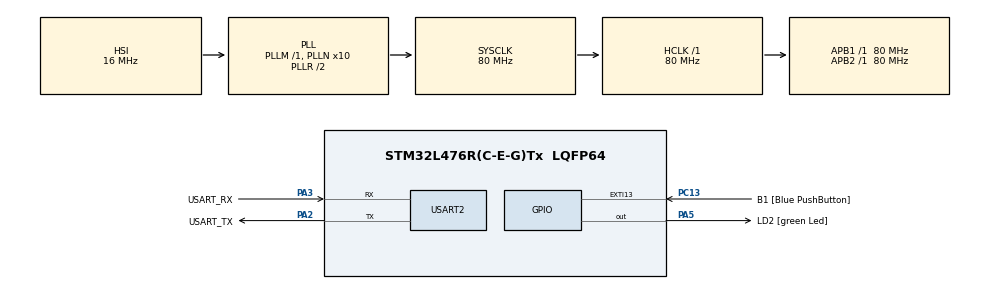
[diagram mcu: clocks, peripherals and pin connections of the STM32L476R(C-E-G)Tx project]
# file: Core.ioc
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Mcu.Family=STM32L4
Mcu.Name=STM32L476R(C-E-G)Tx
Mcu.Package=LQFP64
NVIC.PriorityGroup=NVIC_PRIORITYGROUP_4
NVIC.USART2_IRQn=true\:0\:0\:false\:false\:true\:true\:true\:true
PA13\ (JTMS-SWDIO).GPIO_Label=TMS
PA13\ (JTMS-SWDIO).Mode=Serial_Wire
PA13\ (JTMS-SWDIO).Signal=SYS_JTMS-SWDIO
PA14\ (JTCK-SWCLK).GPIO_Label=TCK
PA14\ (JTCK-SWCLK).Mode=Serial_Wire
PA14\ (JTCK-SWCLK).Signal=SYS_JTCK-SWCLK
PA2.GPIO_Label=USART_TX
PA2.GPIO_Mode=GPIO_MODE_AF_PP
PA2.GPIO_PuPd=GPIO_NOPULL
PA2.GPIO_Speed=GPIO_SPEED_FREQ_VERY_HIGH
PA2.Mode=Asynchronous
PA2.Signal=USART2_TX
PA3.GPIO_Label=USART_RX
PA3.GPIO_Mode=GPIO_MODE_AF_PP
PA3.GPIO_PuPd=GPIO_NOPULL
PA3.GPIO_Speed=GPIO_SPEED_FREQ_VERY_HIGH
PA3.Mode=Asynchronous
PA3.Signal=USART2_RX
PA5.GPIO_Label=LD2 [green Led]
PA5.GPIO_ModeDefaultOutputPP=GPIO_MODE_OUTPUT_PP
PA5.GPIO_PuPd=GPIO_NOPULL
PA5.GPIO_Speed=GPIO_SPEED_FREQ_LOW
PA5.Signal=GPIO_Output
PB3\ (JTDO-TRACESWO).GPIO_Label=SWO
PB3\ (JTDO-TRACESWO).Signal=SYS_JTDO-SWO
PC13.GPIO_Label=B1 [Blue PushButton]
PC13.GPIO_ModeDefaultEXTI=GPIO_MODE_IT_FALLING
PC13.GPIO_PuPd=GPIO_NOPULL
PC13.Signal=GPXTI13
PC14-OSC32_IN\ (PC14).Mode=LSE-External-Oscillator
PC14-OSC32_IN\ (PC14).Signal=RCC_OSC32_IN
PC15-OSC32_OUT\ (PC15).Mode=LSE-External-Oscillator
PC15-OSC32_OUT\ (PC15).Signal=RCC_OSC32_OUT
PH0-OSC_IN\ (PH0).Signal=RCC_OSC_IN
PH1-OSC_OUT\ (PH1).Signal=RCC_OSC_OUT
ProjectManager.HeapSize=0x200
ProjectManager.StackSize=0x400
ProjectManager.TargetToolchain=STM32CubeIDE
RCC.ADCFreq_Value=64000000
RCC.AHBFreq_Value=80000000
RCC.APB1Freq_Value=80000000
RCC.APB1TimFreq_Value=80000000
RCC.APB2Freq_Value=80000000
RCC.APB2TimFreq_Value=80000000
RCC.CortexFreq_Value=80000000
RCC.HCLKFreq_Value=80000000
RCC.HSE_VALUE=8000000
RCC.HSI_VALUE=16000000
RCC.MSI_VALUE=4000000
RCC.PLLN=10
RCC.PLLSourceVirtual=RCC_PLLSOURCE_HSI
RCC.PREFETCH_ENABLE=1
RCC.SYSCLKFreq_VALUE=80000000
RCC.SYSCLKSource=RCC_SYSCLKSOURCE_PLLCLK
RCC.USBFreq_Value=64000000
RCC.VCOOutputFreq_Value=160000000
USART2.VirtualMode-Asynchronous=VM_ASYNC
board=NUCLEO-L476RG

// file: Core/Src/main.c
/* USER CODE BEGIN Header */
/**
  ******************************************************************************
  * @file           : main.c
  * @brief          : Main program body
  ******************************************************************************
  * @attention
  *
  * Copyright (c) 2022 STMicroelectronics.
  * All rights reserved.
  *
  * This software is licensed under terms that can be found in the LICENSE file
  * in the root directory of this software component.
  * If no LICENSE file comes with this software, it is provided AS-IS.
  *
  ******************************************************************************
  */
/* USER CODE END Header */
#include "main.h"
#include "usart.h"
#include "gpio.h"

/* USER CODE BEGIN Includes */
#include <stdint.h>
#include <stdbool.h>

#include <ld_script_vars.h>
#include <terminal_app.h>
/* USER CODE END Includes */

void SystemClock_Config(void);

int app_main(void)
{

  /* MCU Configuration--------------------------------------------------------*/

  /* Reset of all peripherals, Initializes the Flash interface and the Systick. */
  HAL_Init();

  /* Configure the system clock */
  SystemClock_Config();

  /* Initialize all configured peripherals */
  MX_GPIO_Init();
  MX_USART2_UART_Init();
  /* USER CODE BEGIN 2 */

	uint8_t tx_buff[1024];
	uint8_t len;

	// Setup terminal
	rx_byte_count = 0;
	HAL_UART_Receive_IT(HUART_HANDLE, &rx_buff[rx_byte_count], 1);

	// Entry
	len = snprintf((char*)&tx_buff,1024,"\r\n < ==================== Fixed Core Entry point ==================== > \r\n");
	HAL_UART_Transmit(&huart2, (uint8_t *)&tx_buff, len, 10);

	print_shell_line();

	// Partial reconfig code
	void (*real_functoin_1)(uint32_t) = &uart_interupt_service;
	bool (*real_functoin_2)(void) = &handle_stop_char;

	function_A1 = &lut_func_ptr_A1+1;
	function_A2 = &lut_func_ptr_A2+1;

	if(function_A1!=real_functoin_1){
	  uint8_t len = snprintf((char*)&tx_buff,1024,"INCORRECT FUNC 1 PTR!!!\r\n");
	  while(1){
		  HAL_UART_Transmit(&huart2, (uint8_t *)&tx_buff, len, 10);
	  }
	}
	if(function_A2!=real_functoin_2){
	  uint8_t len = snprintf((char*)&tx_buff,1024,"INCORRECT FUNC 2 PTR!!!\r\n");
	  while(1){
		  HAL_UART_Transmit(&huart2, (uint8_t *)&tx_buff, len, 10);
	  }
	}

	uint32_t tick = HAL_GetTick();
	uint32_t data = 0;
  /* USER CODE END 2 */

  /* Infinite loop */
  while (1)
  {
	  bool rval = function_A2();
    /* USER CODE BEGIN 3 */
  }

  len = snprintf((char*)&tx_buff,1024," < ==================== Fixed Core Exit point ==================== > \r\n");
  HAL_UART_Transmit(&huart2, (uint8_t *)&tx_buff, len, 10);

  /* USER CODE END 3 */
}

void SystemClock_Config(void)
{
  RCC_OscInitTypeDef RCC_OscInitStruct = {0};
  RCC_ClkInitTypeDef RCC_ClkInitStruct = {0};

  /** Configure the main internal regulator output voltage
  */
  if (HAL_PWREx_ControlVoltageScaling(PWR_REGULATOR_VOLTAGE_SCALE1) != HAL_OK)
  {
    Error_Handler();
  }

  /** Initializes the RCC Oscillators according to the specified parameters
  * in the RCC_OscInitTypeDef structure.
  */
  RCC_OscInitStruct.OscillatorType = RCC_OSCILLATORTYPE_HSI;
  RCC_OscInitStruct.HSIState = RCC_HSI_ON;
  RCC_OscInitStruct.HSICalibrationValue = RCC_HSICALIBRATION_DEFAULT;
  RCC_OscInitStruct.PLL.PLLState = RCC_PLL_ON;
  RCC_OscInitStruct.PLL.PLLSource = RCC_PLLSOURCE_HSI;
  RCC_OscInitStruct.PLL.PLLM = 1;
  RCC_OscInitStruct.PLL.PLLN = 10;
  RCC_OscInitStruct.PLL.PLLP = RCC_PLLP_DIV7;
  RCC_OscInitStruct.PLL.PLLQ = RCC_PLLQ_DIV2;
  RCC_OscInitStruct.PLL.PLLR = RCC_PLLR_DIV2;
  if (HAL_RCC_OscConfig(&RCC_OscInitStruct) != HAL_OK)
  {
    Error_Handler();
  }

  /** Initializes the CPU, AHB and APB buses clocks
  */
  RCC_ClkInitStruct.ClockType = RCC_CLOCKTYPE_HCLK|RCC_CLOCKTYPE_SYSCLK
                              |RCC_CLOCKTYPE_PCLK1|RCC_CLOCKTYPE_PCLK2;
  RCC_ClkInitStruct.SYSCLKSource = RCC_SYSCLKSOURCE_PLLCLK;
  RCC_ClkInitStruct.AHBCLKDivider = RCC_SYSCLK_DIV1;
  RCC_ClkInitStruct.APB1CLKDivider = RCC_HCLK_DIV1;
  RCC_ClkInitStruct.APB2CLKDivider = RCC_HCLK_DIV1;

  if (HAL_RCC_ClockConfig(&RCC_ClkInitStruct, FLASH_LATENCY_4) != HAL_OK)
  {
    Error_Handler();
  }
}

/* USER CODE BEGIN 4 */
void HAL_UART_RxCpltCallback(UART_HandleTypeDef *huart)
{
	if(huart->Instance == USART2){
		uart_interupt_service();
	}
}
/* USER CODE END 4 */

void Error_Handler(void)
{
  __disable_irq();
  while (1)
  {
  }
}
